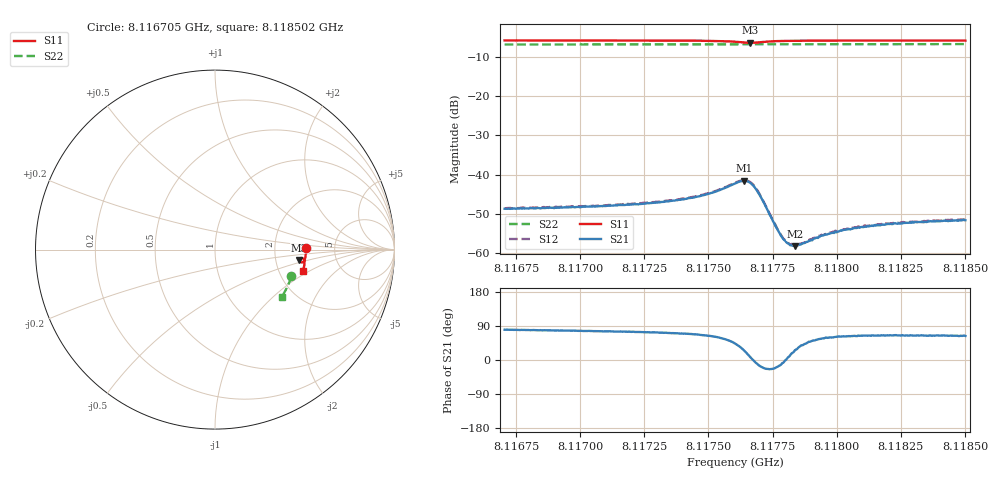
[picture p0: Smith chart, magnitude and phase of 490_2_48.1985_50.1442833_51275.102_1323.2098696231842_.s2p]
#  HZ  S  RI  R  50.00
! Rohde & Schwarz Vector Network Analyzer
! Rohde-Schwarz,ZNB20-2Port,1311601062101988,3.16
! Created: UTC 3/20/2024, 11:58:01 AM
! freq[Hz]  re:S11  im:S11  re:S21  im:S21  re:S12  im:S12  re:S22  im:S22
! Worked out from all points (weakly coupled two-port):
!   401 points, 8.116705 GHz to 8.118502 GHz, reference 50 ohm
!   highest |S21| = -41.59 dB at 8.11764 GHz (marker M1); lowest = -58.2 dB at 8.117837 GHz (marker M2)
!   lowest |S11| = -6.5 dB at 8.117662 GHz (marker M3), VSWR 2.80, Z = 136 - j20.4 ohm
!   |S11| at or under -10 dB: nowhere
!   |S22| runs from -6.9 to -6.8 dB; largest |S21 - S12| = 0.00023
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8.1167052e9  0.5068 0.00658  0.000638 0.00362  0.000713 0.00367  0.4252 -0.1488
8.1170061e9  0.5061 -0.0169  0.00089 0.00378  0.00098 0.00385  0.4187 -0.1687
8.1173071e9  0.5035 -0.0415  0.00135 0.00421  0.00141 0.00432  0.4111 -0.1884
8.117379e9  0.5023 -0.048  0.00157 0.00446  0.0016 0.00454  0.4091 -0.193
8.1174733e9  0.4993 -0.0576  0.00221 0.00494  0.00227 0.005  0.4062 -0.1992
8.1175272e9  0.496 -0.0638  0.00293 0.00533  0.00303 0.00539  0.4046 -0.2027
8.1176036e9  0.4832 -0.0713  0.00559 0.0053  0.00573 0.00541  0.4018 -0.2075
8.1176395e9  0.4725 -0.067  0.00757 0.00347  0.00773 0.00347  0.4004 -0.2094
8.117662e9  0.4696 -0.0582  0.00781 0.00118  0.00798 0.00118  0.3997 -0.2103
8.1176799e9  0.4724 -0.0512  0.0069 -0.00053  0.00703 -0.00058  0.3993 -0.211
8.1176979e9  0.4783 -0.0473  0.00546 -0.00143  0.00557 -0.00148  0.3993 -0.212
8.1177608e9  0.4937 -0.0525  0.00209 -0.000795  0.00216 -0.00083  0.3981 -0.2162
8.1177878e9  0.4962 -0.0566  0.00156 -0.000232  0.00159 -0.00029  0.3973 -0.218
8.1178102e9  0.4974 -0.0597  0.00132 0.000161  0.00137 0.000139  0.3966 -0.2194
8.1178372e9  0.4983 -0.0633  0.00111 0.000534  0.00115 0.000523  0.3958 -0.2213
8.1178686e9  0.4988 -0.0672  0.00104 0.000849  0.00104 0.000853  0.3947 -0.2232
8.1179046e9  0.4989 -0.0709  0.000928 0.00113  0.000957 0.00118  0.3936 -0.2256
8.117945e9  0.4988 -0.0751  0.000913 0.00142  0.000947 0.0014  0.3924 -0.2281
8.1180258e9  0.4981 -0.0826  0.000913 0.00175  0.000948 0.00176  0.3898 -0.2331
8.1181292e9  0.4969 -0.0912  0.000957 0.00201  0.000974 0.002  0.3861 -0.2396
8.1182055e9  0.4959 -0.0974  0.000995 0.00213  0.00104 0.00214  0.3835 -0.2443
8.118502e9  0.4907 -0.12  0.00117 0.00235  0.0012 0.00237  0.3726 -0.2621
